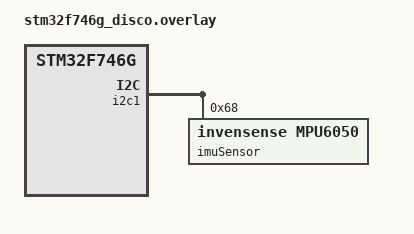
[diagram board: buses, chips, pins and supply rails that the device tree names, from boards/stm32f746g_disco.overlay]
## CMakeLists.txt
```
# SPDX-License-Identifier: Apache-2.0

cmake_minimum_required(VERSION 3.20.0)

#FILE(GLOB jeroagullo_net jeroagullo_wifi)
#list(APPEND OVERLAY_CONFIG "${jeroagullo_net}/net.conf")

find_package(Zephyr REQUIRED HINTS $ENV{ZEPHYR_BASE})
project(display_poc_1)

#include(${jeroagullo_net}/CMakeLists.txt)

FILE(GLOB app_sources src/* src/tensorFlow/* src/jeroagullo_lvgl/* src/mqtt/* src/sensors/*)
target_sources(app PRIVATE ${app_sources})
zephyr_include_directories(src)
```

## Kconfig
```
# Kconfig - Zephyr LVGL AIOT Showcase

mainmenu "Zephyr LVGL AIOT Showcase"

module = APP
module-str = Application module
source "Kconfig.zephyr"

# Custom MQTT Configuration
menu "MQTT Configuration"

config MQTT_CLIENTID
	string "MQTT Client ID"
	default "my-client"
	help
	  MQTT client identifier used when connecting to the broker.

config MQTT_TOPIC
	string "MQTT Topic"
	default "telemetry"
	help
	  Default MQTT topic for publishing telemetry data.

config MQTT_SERVER_PORT
	int "MQTT Server Port"
	default 1883
	range 1 65535
	help
	  MQTT broker port number.

config MQTT_SERVER_ADDR
	string "MQTT Server Address"
	default "10.42.0.1"
	help
	  IP address or hostname of the MQTT broker.

config MQTT_USE_AUTH
	bool "Enable MQTT Authentication"
	default y
	help
	  Enable username/password authentication

if MQTT_USE_AUTH

config MQTT_USER_NAME
	string "MQTT Username"
	default "my-auth-id-1@my-tenant"

config MQTT_PASSWORD
	string "MQTT Password"
	default "my-password"

endif

endmenu
```

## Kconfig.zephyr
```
# Kconfig.zephyr - Include Zephyr Kconfig

# Import Zephyr Kconfig
osource "$(ZEPHYR_BASE)/Kconfig.zephyr"
```

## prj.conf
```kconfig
####################
# LVGL             #
####################
CONFIG_DISPLAY=y
CONFIG_LVGL=y
CONFIG_LV_Z_MEM_POOL_SIZE=49152
CONFIG_MAIN_STACK_SIZE=4096
# it is one of the config variables that more RAM impact has
CONFIG_LV_Z_VDB_SIZE=10
# great for debugging
CONFIG_LV_USE_REFR_DEBUG=n

# Set RGB565
CONFIG_LV_COLOR_DEPTH_16=y

# Enabling Touch screen
CONFIG_INPUT=y

####################
# lv_conf.h macros #
####################
CONFIG_LV_MEM_CUSTOM=y
CONFIG_LV_USE_LOG=y
CONFIG_LV_USE_LABEL=y
CONFIG_LV_USE_BTN=y
CONFIG_LV_USE_IMG=y
CONFIG_LV_USE_ARC=y
CONFIG_LV_FONT_MONTSERRAT_14=y
CONFIG_LV_FONT_MONTSERRAT_30=y
# swap byte order
CONFIG_LV_COLOR_16_SWAP=n

####################
# Networking       #
####################
CONFIG_NETWORKING=y
CONFIG_NET_IPV6=n
CONFIG_NET_IPV4=y
CONFIG_NET_ARP=y
CONFIG_NET_TCP=y
CONFIG_NET_DHCPV4=y
CONFIG_NET_DHCPV4_OPTION_CALLBACKS=y
CONFIG_DNS_RESOLVER=y
CONFIG_TEST_RANDOM_GENERATOR=y
CONFIG_NET_MGMT=y
CONFIG_NET_MGMT_EVENT=y

####################
# MQTT             #
####################
CONFIG_NET_SOCKETS=y
CONFIG_MQTT_LIB=y
CONFIG_ENTROPY_GENERATOR=y
CONFIG_POSIX_API=y
CONFIG_NET_SOCKETS_POSIX_NAMES=y

####################
# LOGGING          #
####################
CONFIG_LOG=y
CONFIG_DISPLAY_LOG_LEVEL_ERR=y

# Enable reboot capabilities
CONFIG_REBOOT=y

####################
# SENSORS          #
####################
CONFIG_SENSOR=y

####################
# Custom Config    #
####################
CONFIG_MQTT_CLIENTID="my-client"
CONFIG_MQTT_TOPIC="telemetry"
CONFIG_MQTT_SERVER_PORT=1883
CONFIG_MQTT_SERVER_ADDR="10.42.0.1"
CONFIG_MQTT_PASSWORD="my-password"
CONFIG_MQTT_USER_NAME="my-auth-id-1@my-tenant"
CONFIG_MQTT_USE_AUTH=n
```

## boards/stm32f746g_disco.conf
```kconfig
# Config STM32 LCD driver
CONFIG_STM32_LTDC=y
CONFIG_STM32_LTDC_RGB565=y

# Config sensor
CONFIG_I2C=y
CONFIG_SENSOR=y
```

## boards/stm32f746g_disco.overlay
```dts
&i2c1 {
	status = "okay";

	// addresses: low -> 0x68, high -> 0x69
	imuSensor: mpu6050@68 {
		compatible = "invensense,mpu6050";
		reg = <0x68>;
		status = "okay";
	};

};
```

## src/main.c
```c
/**
 * @file main.c
 * @author Jerónimo Agulló Ocampos (jeronimoagullo@jeroagullo.com)
 * @brief 	This app creates a button which has 3 events (press, release and click).
 * 			While the button is pressed, the text changes to "pressed" and changes to
 * 			"released" when it is released. When we click it, the counter is reseted
 *
 * @version 1.0
 * @date 2023-01-12
 *
 * @copyright Copyright (c) jeroagullo 2023
 *
 */
#include <zephyr/device.h>
#include <zephyr/devicetree.h>
#include <zephyr/drivers/display.h>
#include <lvgl.h>
#include <stdio.h>
#include <string.h>
#include <zephyr/kernel.h>
#include <zephyr/sys/reboot.h>

#include "config.h"
#include "jeroagullo_lvgl/jeroagullo_lvgl.h"
#include "mqtt/jeroagullo_mqtt.h"
#include "config_network.h"

#define LOG_LEVEL CONFIG_LOG_DEFAULT_LEVEL
#include <zephyr/logging/log.h>
LOG_MODULE_REGISTER(app);

void main(void)
{
	int ret = 0;
	const struct device *display_dev;
	struct net_if *iface = NULL;

	display_dev = DEVICE_DT_GET(DT_CHOSEN(zephyr_display));
	if (!device_is_ready(display_dev)) {
		LOG_ERR("Device not ready, aborting test");
		return;
	}

	// initialize the LVGL styles
	style_init();

	/*
	 *  Boot sequence
	 */

	// Add Zephyr logo
	LV_IMG_DECLARE(Zephyr_RTOS_logo_100pp_a8);
	lv_obj_t * img1 = lv_img_create(lv_scr_act());
	lv_img_set_src(img1, &Zephyr_RTOS_logo_100pp_a8);
	lv_obj_align(img1, LV_ALIGN_TOP_MID, 0, 50);

	// Add label for displaying booting log
	lv_obj_t * log_label = lv_label_create(lv_scr_act());
	lv_obj_align_to(log_label, img1, LV_ALIGN_OUT_BOTTOM_LEFT, -100, 10);
	lv_label_set_recolor(log_label, true); // Allow recoloring for fail/success

	// Initialize Networking
	lv_label_set_text(log_label, "[ ] Initializing network");
	lv_task_handler();
	ret = init_network(iface);
	char log_results[300] = "";

	if (ret == 0) {
		strcat(log_results, "#008000 [-] Network successed#\n");
	} else {
		strcat(log_results, "#ff0000 [x] Network failed#\n");
	}

	strcat(log_results, "[ ] Initializing TensorFlow Lite model\n");

	lv_label_set_text(log_label, log_results);
	lv_task_handler();
	k_msleep(1 * MSEC_PER_SEC);

	// Initialize TensorFlow
	LOG_INF("Starting TensorFlow Model");

	lv_label_set_text(log_label, 	"[*] Network successed\n"
					"[*] TensorFlow Lite model successed\n"
					"[ ] Initializing MQTT connection");
	lv_task_handler();
	k_msleep(1 * MSEC_PER_SEC);

	// Initialize MQTT

	LOG_INF("Starting mqtt connection");
	ret = mqtt_try_to_connect();

	if (ret != 0){
		char mqtt_error[100];
		sprintf(mqtt_error, "Please, check broker %s:%d\nRebooting system", CONFIG_MQTT_SERVER_ADDR, CONFIG_MQTT_SERVER_PORT);
		lv_label_set_text(log_label, 	"[*]Network successed\n"
						"[*]TensorFlow Lite model successed\n"
						"[x]MQTT connection Error");
		lv_obj_t *mqtt_error_label = lv_label_create(lv_scr_act());
		lv_obj_add_style(mqtt_error_label, &style_error, 0);
		lv_label_set_text(mqtt_error_label, mqtt_error);
		lv_obj_align_to(mqtt_error_label, log_label, LV_ALIGN_OUT_BOTTOM_LEFT, 0, 20);
		lv_task_handler();
		k_msleep(5 * MSEC_PER_SEC);
		sys_reboot(SYS_REBOOT_WARM);
	}


	lv_label_set_text(log_label, 	"[*]Network successed\n"
					"[*]TensorFlow Lite model successed\n"
					"[*]MQTT connection successed\n"
					"Launching app...");
	lv_task_handler();

	k_msleep(1 * MSEC_PER_SEC);

	// Delete booting objects
	lv_obj_del(img1);
	lv_obj_del(log_label);

	// Add display objects
	lv_example_tabview_1();
	display_blanking_off(display_dev);
	lv_obj_t * count_label = lv_label_create(lv_scr_act());
	lv_obj_align(count_label, LV_ALIGN_BOTTOM_LEFT, 360, 0);

	char count_str[22] = {0};
	int mseconds = 0;

	// foot object with boot time
	while (1) {
		mseconds = k_uptime_get();
		sprintf(count_str, "%.2d:%.2d:%.2d:%.3d",
			(mseconds/1000)/3600, (mseconds/1000)/60, (mseconds/1000)%60, mseconds%1000);
		lv_label_set_text(count_label, count_str);

		k_mutex_lock(&lvgl_mutex, K_FOREVER);
		lv_task_handler();
		k_mutex_unlock(&lvgl_mutex);

		k_msleep(10);
	}

}
```

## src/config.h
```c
#ifndef __CONFIG_H__
#define __CONFIG_H__

#define THREAD_UPDATE_NUMBER_STACK_SIZE 1000
#define THREAD_UPDATE_NUMBER_PRIORITY 2

#endif
```

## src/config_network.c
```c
/**
 * @file config_network.c
 * @author Jeronimo Agullo (jeronimoagullo97@gmail.com)
 * @brief This library handles the Net (ethernet or WIFI) connection.
 * @version 1.0
 * @date 2022-01-11
 * 
 * @copyright Copyright (c) 2022
 * 
 * @addtogroup jeroagulloNetLib
 * @{
 */
#include <errno.h>
#include <zephyr/net/net_if.h>
#include <zephyr/net/net_core.h>
#include <zephyr/net/net_context.h>
#include <zephyr/net/net_mgmt.h>

#ifdef CONFIG_WIFI
#include <zephyr/net/wifi.h>
#include <zephyr/net/wifi_mgmt.h>
#endif

#include <zephyr/logging/log.h>
LOG_MODULE_REGISTER(config_network, LOG_LEVEL_DBG);

#include "config_network.h"

static struct k_sem net_cb_sem;
static struct net_mgmt_event_callback mgmt_cb;

static void handler(struct net_mgmt_event_callback *cb,
		    uint32_t mgmt_event,
		    struct net_if *iface)
{
	int i = 0;

	if (mgmt_event != NET_EVENT_IPV4_ADDR_ADD) {
		return;
	}

	for (i = 0; i < NET_IF_MAX_IPV4_ADDR; i++) {
		char buf[NET_IPV4_ADDR_LEN];

		if (iface->config.ip.ipv4->unicast[i].ipv4.addr_type !=
							NET_ADDR_DHCP) {
			continue;
		}

		LOG_INF("Your address: %s",
			net_addr_ntop(AF_INET,
			    &iface->config.ip.ipv4->unicast[i].ipv4.address.in_addr,
						  buf, sizeof(buf)));
		LOG_INF("Lease time: %u seconds",
			 iface->config.dhcpv4.lease_time);
		LOG_INF("Subnet: %s",
			net_addr_ntop(AF_INET,
				       &iface->config.ip.ipv4->unicast[i].netmask,
				       buf, sizeof(buf)));
		LOG_INF("Router: %s",
			net_addr_ntop(AF_INET,
						 &iface->config.ip.ipv4->gw,
						 buf, sizeof(buf)));
	}

	// Connected
	LOG_INF("Connection successed");
	k_sem_give(&net_cb_sem);
}


int init_network(struct net_if *iface){
	k_sem_init(&net_cb_sem, 0, 1);

	LOG_INF("STARTING NET...");

	LOG_INF("wait until the iface is initialized");
	k_msleep(5 * MSEC_PER_SEC);

	iface = net_if_get_default();

	if(iface == NULL){
		LOG_ERR("iface is NULL");
	}

	net_mgmt_init_event_callback(&mgmt_cb, handler,
				     NET_EVENT_IPV4_ADDR_ADD);

	net_mgmt_add_event_callback(&mgmt_cb);

	// start dhcp
	net_dhcpv4_start(iface);

#ifdef CONFIG_WIFI
	static struct wifi_connect_req_params wifi_conn_params;

    // Wifi parameters
	wifi_conn_params.ssid = WIFI_SSID;
	wifi_conn_params.ssid_length = strlen(WIFI_SSID);
	wifi_conn_params.psk  = WIFI_PASSWORD;
	wifi_conn_params.psk_length  = strlen(WIFI_PASSWORD);
	wifi_conn_params.channel = WIFI_CHANNEL_ANY;
	wifi_conn_params.security = WIFI_SECURITY_TYPE_PSK ;

	if (net_mgmt(NET_REQUEST_WIFI_CONNECT, iface,
			&wifi_conn_params, sizeof(struct wifi_connect_req_params))) {
		LOG_ERR("Connection failed");
		return false;
	} else {
		LOG_INF("Connection WIFI");
	}
#endif

	LOG_INF("Connection requested...");
	// Wait for connection during 20 seconds....
	int ret = k_sem_take(&net_cb_sem, K_SECONDS(30));

	if(ret == EAGAIN)
		LOG_ERR("Connection failed due to timeout");

	return ret;
}

/**
 * @}
 */
```

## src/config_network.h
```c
/**
 * @brief Config Net library for Zephyr project.
 * @defgroup Config Net library 
 */

/**
 * @file config_network.h
 * @author Jeronimo Agullo (jeronimoagullo97@gmail.com)
 * @brief This library handles the Net (ethernet or WIFI) connection.
 * @version 2.0
 * @date 2022-01-11
 * 
 * @copyright Copyright (c) 2022
 * 
 * @addtogroup ConfigNetLib
 * @{
 */

#define CONFIG_NET_WIFI_LENGTH 100
extern char WIFI_SSID[100];
extern char WIFI_PASSWORD[100];

#ifndef __CONFIG_NET_H__
#define __CONFIG_NET_H__

int init_network(struct net_if *iface);

/**
 * @}
 */
#endif /*__CONFIG_NET_H__*/
```
